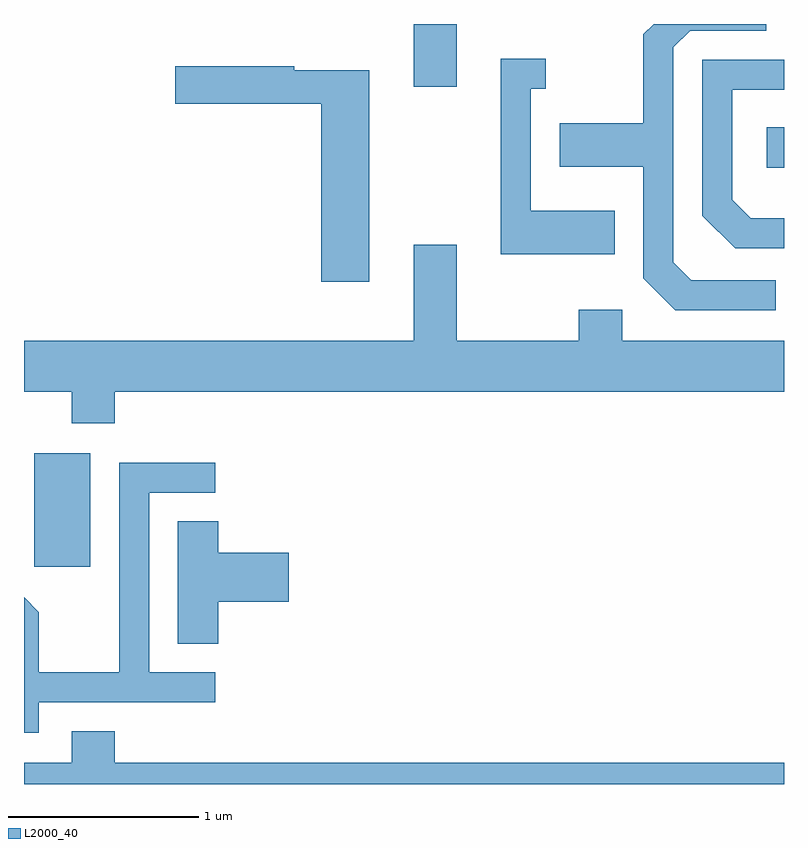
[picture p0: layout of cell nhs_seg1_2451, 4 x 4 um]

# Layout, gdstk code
import gdstk
lib = gdstk.Library(unit=1e-6, precision=1e-09)
def R(c, l, rs):  # rectangles x0, y0, x1, y1
    for r in rs: c.add(gdstk.rectangle(r[:2], r[2:], *l))
def P(c, l, *ps):  # polygons
    for p in ps: c.add(gdstk.Polygon(p, *l))
L2000_40 = (2000, 40)

nhs_seg1_2451 = lib.new_cell('nhs_seg1_2451')
R(nhs_seg1_2451, L2000_40, [(259.666,920.856,259.959,921.454), (263.521,922.956,263.611,923.169), (261.661,923.381,261.889,923.712)])
P(nhs_seg1_2451, L2000_40, [(263.568,922.364),(263.122,922.364),(263.029,922.457),(263.029,923.589),(263.117,923.676),(263.518,923.676),(263.518,923.712),(262.926,923.712),(262.871,923.657),(262.871,923.189),(262.431,923.189),(262.431,922.961),(262.871,922.961),(262.871,922.374),(263.039,922.206),(263.568,922.206)],
  [(262.719,922.729),(262.279,922.729),(262.279,923.371),(262.358,923.371),(262.358,923.529),(262.121,923.529),(262.121,922.501),(262.719,922.501)],
  [(263.611,922.689),(263.437,922.689),(263.339,922.787),(263.339,923.366),(263.611,923.366),(263.611,923.524),(263.181,923.524),(263.181,922.704),(263.354,922.531),(263.611,922.531)],
  [(261.429,923.469),(261.034,923.469),(261.034,923.489),(260.406,923.489),(260.406,923.291),(261.176,923.291),(261.176,922.356),(261.429,922.356)],
  [(260.089,921.776),(263.611,921.776),(263.611,922.044),(262.759,922.044),(262.759,922.209),(262.531,922.209),(262.531,922.044),(261.889,922.044),(261.889,922.549),(261.661,922.549),(261.661,922.044),(259.611,922.044),(259.611,921.776),(259.861,921.776),(259.861,921.611),(260.089,921.611)],
  [(259.689,920.141),(260.618,920.141),(260.618,920.299),(260.269,920.299),(260.269,921.246),(260.618,921.246),(260.618,921.404),(260.111,921.404),(260.111,920.299),(259.689,920.299),(259.689,920.617),(259.611,920.695),(259.611,919.981),(259.689,919.981)],
  [(260.634,920.671),(261.004,920.671),(261.004,920.929),(260.634,920.929),(260.634,921.094),(260.421,921.094),(260.421,920.451),(260.634,920.451)],
  [(263.611,919.824),(260.089,919.824),(260.089,919.989),(259.861,919.989),(259.861,919.824),(259.611,919.824),(259.611,919.712),(263.611,919.712)])

lib.write_gds('nhs_seg1_2451.gds')
